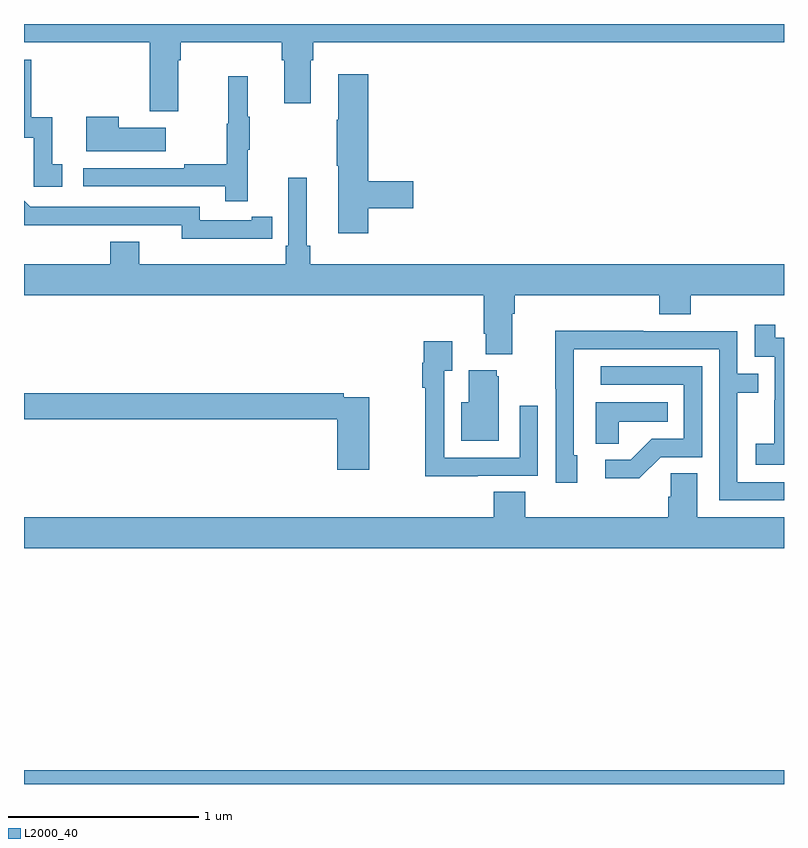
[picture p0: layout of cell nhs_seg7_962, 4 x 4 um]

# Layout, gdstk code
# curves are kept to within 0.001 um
import gdstk
lib = gdstk.Library(unit=1e-6, precision=1e-09)
def R(c, l, rs):  # rectangles x0, y0, x1, y1
    for r in rs: c.add(gdstk.rectangle(r[:2], r[2:], *l))
def P(c, l, *ps):  # polygons
    for p in ps: c.add(gdstk.Polygon(p, *l))
L2000_40 = (2000, 40)

nhs_seg7_962 = lib.new_cell('nhs_seg7_962')
R(nhs_seg7_962, L2000_40, [(181,1042,185,1042.072)])
P(nhs_seg7_962, L2000_40, [(181.813,1045.808),(181.826,1045.808),(181.826,1045.904),(182.357,1045.904),(182.357,1045.808),(182.369,1045.808),(182.369,1045.584),(182.509,1045.584),(182.509,1045.808),(182.522,1045.808),(182.522,1045.904),(185,1045.904),(185,1046),(181,1046),(181,1045.904),(181.661,1045.904),(181.661,1045.542),(181.813,1045.542)],
  [(181.201,1045.263),(181.148,1045.263),(181.148,1045.51),(181.037,1045.51),(181.037,1045.812),(181,1045.812),(181,1045.401),(181.05,1045.401),(181.05,1045.143),(181.201,1045.143)],
  [(182.813,1045.03),(183.049,1045.03),(183.049,1045.172),(182.813,1045.172),(182.813,1045.735),(182.654,1045.735),(182.654,1045.496),(182.647,1045.496),(182.647,1045.255),(182.654,1045.255),(182.654,1044.9),(182.813,1044.9)],
  [(182.177,1045.339),(182.188,1045.339),(182.188,1045.513),(182.177,1045.513),(182.177,1045.726),(182.074,1045.726),(182.074,1045.476),(182.067,1045.476),(182.067,1045.262),(181.843,1045.262),(181.843,1045.242),(181.311,1045.242),(181.311,1045.146),(182.059,1045.146),(182.059,1045.068),(182.177,1045.068)],
  [(181.747,1045.453),(181.499,1045.453),(181.499,1045.513),(181.328,1045.513),(181.328,1045.331),(181.747,1045.331)],
  [(182.198,1044.87),(182.306,1044.87),(182.306,1044.986),(182.198,1044.986),(182.198,1044.966),(181.926,1044.966),(181.926,1045.038),(181.032,1045.038),(181,1045.07),(181,1044.941),(181.83,1044.942),(181.83,1044.869)],
  [(182.507,1044.832),(182.488,1044.832),(182.488,1045.192),(182.391,1045.192),(182.391,1044.832),(182.378,1044.832),(182.378,1044.736),(181.606,1044.736),(181.606,1044.853),(181.454,1044.853),(181.454,1044.736),(181,1044.736),(181,1044.572),(183.419,1044.572),(183.419,1044.37),(183.431,1044.37),(183.431,1044.263),(183.571,1044.263),(183.571,1044.476),(183.584,1044.476),(183.584,1044.572),(184.343,1044.572),(184.343,1044.473),(184.508,1044.473),(184.508,1044.572),(185,1044.572),(185,1044.736),(182.507,1044.736)],
  [(185,1044.348),(184.954,1044.348),(184.954,1044.418),(184.845,1044.418),(184.845,1044.249),(184.95,1044.249),(184.95,1044.02),(184.949,1044.02),(184.949,1043.791),(184.851,1043.791),(184.851,1043.681),(185,1043.681)],
  [(185,1043.589),(184.755,1043.589),(184.755,1044.058),(184.865,1044.058),(184.865,1044.159),(184.755,1044.159),(184.755,1044.384),(184.259,1044.384),(184.259,1044.386),(183.796,1044.386),(183.796,1044.079),(183.798,1044.079),(183.798,1043.586),(183.913,1043.586),(183.913,1043.73),(183.894,1043.73),(183.894,1044.288),(184.659,1044.288),(184.659,1043.493),(185,1043.493)],
  [(183.389,1043.622),(183.705,1043.622),(183.705,1043.992),(183.609,1043.992),(183.609,1043.718),(183.213,1043.718),(183.213,1044.175),(183.253,1044.175),(183.253,1044.331),(183.105,1044.331),(183.105,1044.218),(183.097,1044.218),(183.097,1044.086),(183.112,1044.086),(183.112,1043.621),(183.389,1043.621)],
  [(184.35,1043.721),(184.569,1043.721),(184.569,1044.198),(184.035,1044.198),(184.035,1044.102),(184.473,1044.102),(184.473,1043.817),(184.304,1043.817),(184.193,1043.706),(184.059,1043.706),(184.059,1043.609),(184.237,1043.609)],
  [(183.499,1044.147),(183.488,1044.147),(183.488,1044.178),(183.341,1044.178),(183.341,1044.01),(183.302,1044.01),(183.302,1043.807),(183.499,1043.807)],
  [(182.818,1044.036),(182.684,1044.036),(182.684,1044.056),(181,1044.056),(181,1043.92),(182.648,1043.92),(182.648,1043.655),(182.818,1043.655)],
  [(184.131,1043.906),(184.388,1043.906),(184.388,1044.01),(184.01,1044.01),(184.01,1043.791),(184.131,1043.791)],
  [(185,1043.404),(184.543,1043.404),(184.543,1043.636),(184.404,1043.636),(184.404,1043.513),(184.391,1043.513),(184.391,1043.404),(183.638,1043.404),(183.638,1043.537),(183.473,1043.537),(183.473,1043.404),(181,1043.404),(181,1043.24),(185,1043.24)])

lib.write_gds('nhs_seg7_962.gds')
